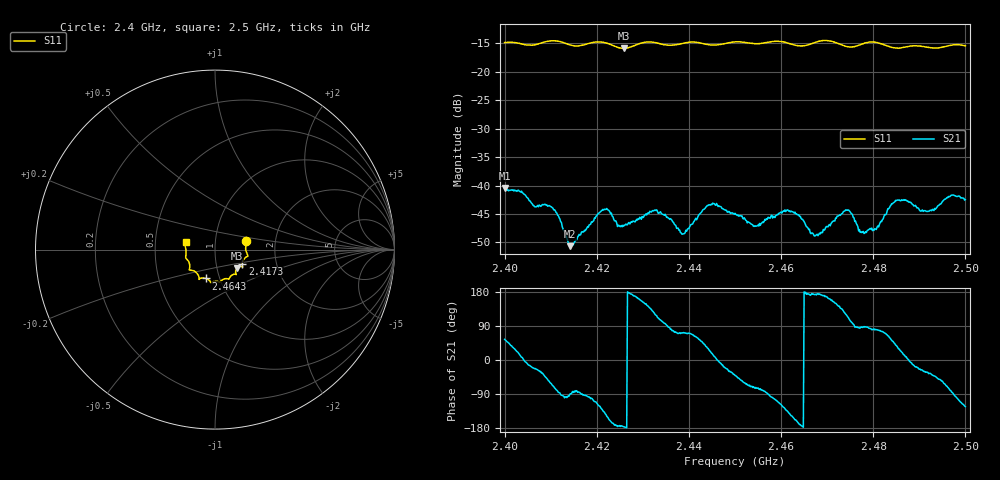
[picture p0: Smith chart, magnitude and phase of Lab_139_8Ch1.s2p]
# Hz S RI R 50
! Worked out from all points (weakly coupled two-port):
!   601 points, 2.4 GHz to 2.5 GHz, reference 50 ohm
!   highest |S21| = -40.42 dB at 2.4 GHz (marker M1); lowest = -50.6 dB at 2.4142 GHz (marker M2)
!   lowest |S11| = -15.9 dB at 2.4258 GHz (marker M3), VSWR 1.38, Z = 62.3 - j13.3 ohm
!   |S11| at or under -10 dB: start of sweep to end of sweep
!   S12 and S22 are empty: the file has one direction only
!   S11 on the Smith chart (normalised r, x): 2.4 GHz: 1.41, +0.14; 2.4173 GHz: 1.34, -0.23; 2.4643 GHz: 0.86, -0.29; 2.5 GHz: 0.72, +0.06
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2.4e9  0.1736 0.0487  0.00554 0.00775  0 0  0 0
2.410333e9  0.1838 -0.0343  0.00256 -0.00586  0 0  0 0
2.414167e9  0.1651 -0.0481  -1.45e-05 -0.00293  0 0  0 0
2.416667e9  0.153 -0.0742  -3.29e-05 -0.0039  0 0  0 0
2.417333e9  0.1522 -0.0818  -0.000222 -0.00404  0 0  0 0
2.421667e9  0.1529 -0.096  -0.0046 -0.00415  0 0  0 0
2.425833e9  0.122 -0.1039  -0.00439 -0.000294  0 0  0 0
2.433333e9  0.1127 -0.1373  -0.00204 0.00533  0 0  0 0
2.438667e9  0.0809 -0.1579  0.00121 0.00355  0 0  0 0
2.444667e9  0.0584 -0.1618  0.00621 0.00262  0 0  0 0
2.45e9  0.0284 -0.1807  0.00432 -0.00372  0 0  0 0
2.454333e9  0.00753 -0.1761  0.0012 -0.00427  0 0  0 0
2.461e9  -0.0266 -0.1789  -0.00389 -0.00445  0 0  0 0
2.464333e9  -0.0501 -0.1609  -0.00512 -0.00062  0 0  0 0
2.466667e9  -0.0762 -0.1592  -0.00381 0.000301  0 0  0 0
2.474167e9  -0.0987 -0.1342  -0.00296 0.00531  0 0  0 0
2.477333e9  -0.1296 -0.1155  0.000243 0.00392  0 0  0 0
2.480333e9  -0.1434 -0.1121  0.000753 0.00411  0 0  0 0
2.483333e9  -0.1406 -0.0898  0.00284 0.00558  0 0  0 0
2.485333e9  -0.1458 -0.0685  0.00629 0.004  0 0  0 0
2.491667e9  -0.1617 -0.0287  0.00501 -0.00318  0 0  0 0
2.5e9  -0.1634 0.0425  -0.00412 -0.00631  0 0  0 0
